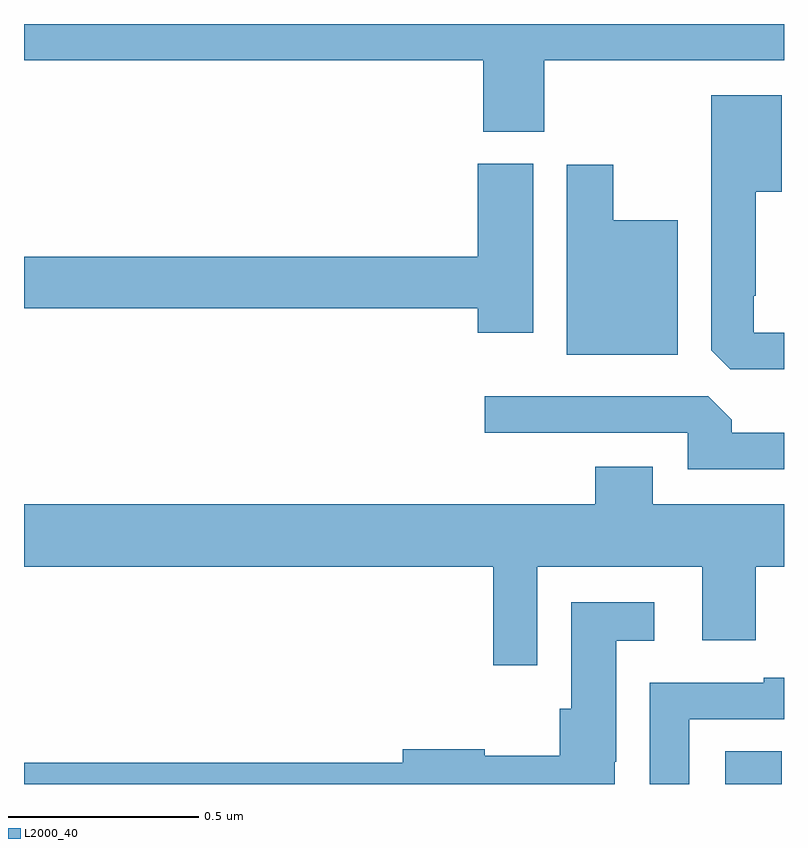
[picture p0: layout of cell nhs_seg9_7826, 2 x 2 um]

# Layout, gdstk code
import gdstk
lib = gdstk.Library(unit=1e-6, precision=1e-09)
def R(c, l, rs):  # rectangles x0, y0, x1, y1
    for r in rs: c.add(gdstk.rectangle(r[:2], r[2:], *l))
def P(c, l, *ps):  # polygons
    for p in ps: c.add(gdstk.Polygon(p, *l))
L2000_40 = (2000, 40)

nhs_seg9_7826 = lib.new_cell('nhs_seg9_7826')
R(nhs_seg9_7826, L2000_40, [(210.845,1210.5,210.994,1210.586)])
P(nhs_seg9_7826, L2000_40, [(210.369,1212.404),(211,1212.404),(211,1212.5),(209,1212.5),(209,1212.404),(210.209,1212.404),(210.209,1212.217),(210.369,1212.217)],
  [(211,1211.688),(210.921,1211.688),(210.921,1211.785),(210.925,1211.785),(210.925,1212.059),(210.994,1212.059),(210.994,1212.313),(210.809,1212.313),(210.809,1211.641),(210.858,1211.592),(211,1211.592)],
  [(210.34,1212.132),(210.194,1212.132),(210.194,1211.888),(209,1211.888),(209,1211.752),(210.194,1211.752),(210.194,1211.688),(210.34,1211.688)],
  [(210.721,1211.983),(210.55,1211.983),(210.55,1212.13),(210.428,1212.13),(210.428,1211.63),(210.721,1211.63)],
  [(211,1211.424),(210.863,1211.424),(210.863,1211.458),(210.801,1211.52),(210.213,1211.52),(210.213,1211.424),(210.747,1211.424),(210.747,1211.328),(211,1211.328)],
  [(210.351,1211.072),(210.785,1211.072),(210.785,1210.878),(210.925,1210.878),(210.925,1211.072),(211,1211.072),(211,1211.236),(210.655,1211.236),(210.655,1211.335),(210.503,1211.335),(210.503,1211.236),(209,1211.236),(209,1211.072),(210.235,1211.072),(210.235,1210.812),(210.351,1210.812)],
  [(210.555,1210.558),(210.559,1210.558),(210.559,1210.877),(210.658,1210.877),(210.658,1210.978),(210.44,1210.978),(210.44,1210.698),(210.41,1210.698),(210.41,1210.575),(210.213,1210.575),(210.213,1210.592),(209.997,1210.592),(209.997,1210.556),(209,1210.556),(209,1210.5),(210.555,1210.5)],
  [(210.751,1210.671),(211,1210.671),(211,1210.78),(210.947,1210.78),(210.947,1210.767),(210.647,1210.767),(210.647,1210.5),(210.751,1210.5)])

lib.write_gds('nhs_seg9_7826.gds')
